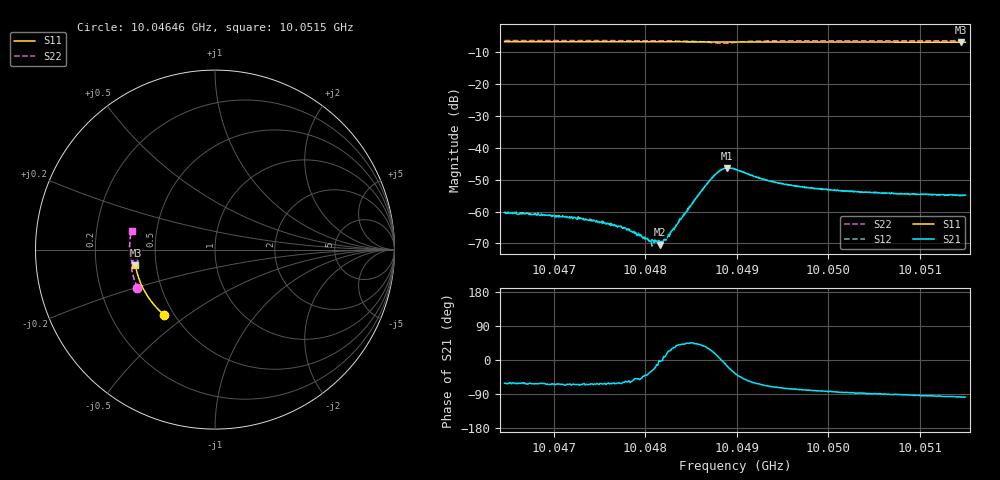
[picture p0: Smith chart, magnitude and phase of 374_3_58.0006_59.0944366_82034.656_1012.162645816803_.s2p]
#  HZ  S  RI  R  50.00
! Rohde & Schwarz Vector Network Analyzer
! Rohde-Schwarz,ZNB20-2Port,1311601062101988,3.16
! Created: UTC 3/21/2024, 1:07:03 AM
! freq[Hz]  re:S11  im:S11  re:S21  im:S21  re:S12  im:S12  re:S22  im:S22
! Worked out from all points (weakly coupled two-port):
!   401 points, 10.04646 GHz to 10.0515 GHz, reference 50 ohm
!   highest |S21| = -46.36 dB at 10.04889 GHz (marker M1); lowest = -70.4 dB at 10.04816 GHz (marker M2)
!   lowest |S11| = -6.9 dB at 10.05145 GHz (marker M3), VSWR 2.65, Z = 19 - j4.18 ohm
!   |S11| at or under -10 dB: nowhere
!   |S22| runs from -7.2 to -6.4 dB; largest |S21 - S12| = 0.00033
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1.0046458e10  -0.2815 -0.3649  0.000465 -0.000848  0.000546 -0.000828  -0.4319 -0.2117
1.0046862e10  -0.3016 -0.3471  0.000431 -0.000779  0.000477 -0.000778  -0.4425 -0.1867
1.0047303e10  -0.3224 -0.3268  0.000328 -0.000698  0.000372 -0.000665  -0.4524 -0.1582
1.004753e10  -0.3326 -0.3157  0.000292 -0.000581  0.000355 -0.000616  -0.4568 -0.143
1.0047757e10  -0.3424 -0.3045  0.000293 -0.000479  0.000313 -0.000455  -0.4606 -0.1275
1.0047896e10  -0.3481 -0.2973  0.000303 -0.000349  0.000296 -0.000333  -0.4625 -0.1173
1.0048034e10  -0.3536 -0.2902  0.000287 -0.000203  0.000301 -0.000168  -0.4641 -0.1071
1.004806e10  -0.3547 -0.2887  0.000291 -0.000174  0.000323 -0.000147  -0.4644 -0.1053
1.0048148e10  -0.358 -0.2843  0.000352 -1.18e-05  0.00032 7.44e-06  -0.4649 -0.0985
1.004816e10  -0.3588 -0.2835  0.000302 -1.96e-05  0.000331 5.37e-06  -0.4652 -0.0973
1.0048186e10  -0.3597 -0.2823  0.000341 -8.17e-06  0.000363 4.21e-05  -0.4652 -0.0954
1.0048249e10  -0.3621 -0.2788  0.000383 0.000162  0.000403 0.000152  -0.4652 -0.0901
1.0048577e10  -0.3743 -0.261  0.00135 0.00118  0.00129 0.00128  -0.4579 -0.0603
1.0048728e10  -0.3796 -0.2525  0.00305 0.00134  0.00302 0.00154  -0.442 -0.0515
1.0048816e10  -0.3825 -0.2477  0.00437 0.000292  0.00437 0.000545  -0.4317 -0.0577
1.0048892e10  -0.385 -0.2435  0.00463 -0.00127  0.00473 -0.000987  -0.432 -0.0684
1.004898e10  -0.3878 -0.2387  0.00373 -0.00267  0.00396 -0.00244  -0.4427 -0.0747
1.0049358e10  -0.4001 -0.217  0.00106 -0.00281  0.00124 -0.00277  -0.4703 -0.048
1.0049825e10  -0.4132 -0.1892  0.000382 -0.00231  0.000508 -0.00229  -0.4761 -0.0113
1.0050669e10  -0.4319 -0.1371  -2.87e-05 -0.00195  0.000107 -0.00193  -0.4743 0.0479
1.0051451e10  -0.4434 -0.0874  -0.000224 -0.00176  -0.000155 -0.0018  -0.4656 0.0993
1.0051502e10  -0.4441 -0.084  -0.000246 -0.00179  -0.000143 -0.0018  -0.4651 0.1026
